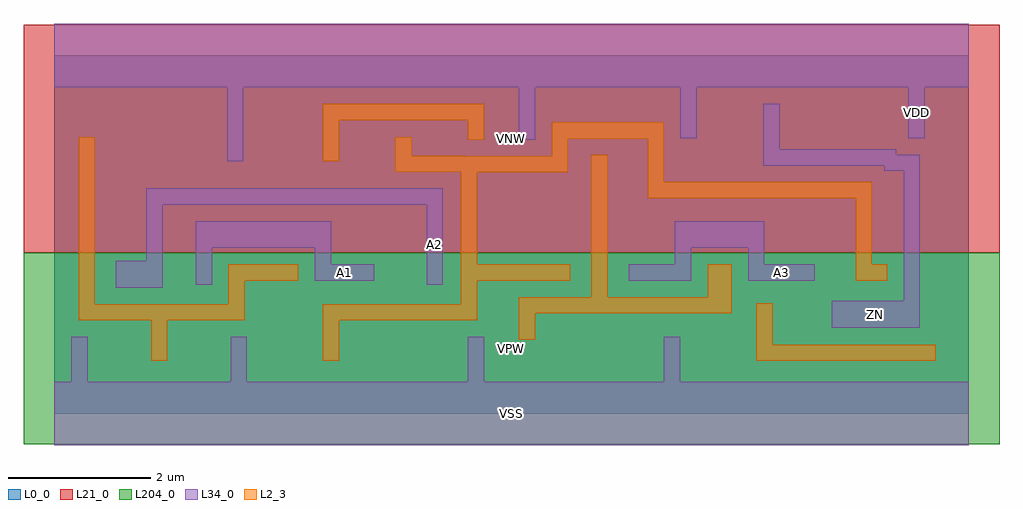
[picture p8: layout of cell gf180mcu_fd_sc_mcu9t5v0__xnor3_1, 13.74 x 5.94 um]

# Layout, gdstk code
import gdstk
lib = gdstk.Library(unit=1e-6, precision=1e-09)
def R(c, l, rs):  # rectangles x0, y0, x1, y1
    for r in rs: c.add(gdstk.rectangle(r[:2], r[2:], *l))
L0_0 = (0, 0)
L2_3 = (2, 3)
L21_0 = (21, 0)
L34_0 = (34, 0)
L204_0 = (204, 0)

gf180mcu_fd_sc_mcu9t5v0_ = lib.new_cell('gf180mcu_fd_sc_mcu9t5v0__xnor3_1')
R(gf180mcu_fd_sc_mcu9t5v0_, L0_0, [(0,0,12.88,5.04)])
R(gf180mcu_fd_sc_mcu9t5v0_, L2_3, [(1.365,0.74,1.595,1.31), (3.785,0.74,4.015,1.31), (9.885,0.74,12.41,0.97), (9.885,0.97,10.115,1.55), (6.545,1.04,6.775,1.41), (0.345,1.31,2.685,1.54), (3.785,1.31,5.955,1.54), (6.545,1.41,9.54,1.64), (0.345,1.54,0.575,3.89), (2.455,1.54,2.685,1.87), (5.725,1.54,5.955,1.87), (7.565,1.64,7.795,3.64), (9.2,1.64,9.54,2.1), (2.455,1.87,3.44,2.1), (5.725,1.87,7.27,2.1), (11.285,1.87,11.73,2.1), (5.725,2.1,5.955,3.395), (11.285,2.1,11.515,3.03), (8.355,3.03,11.515,3.26), (8.355,3.26,8.585,3.87), (5.725,3.395,7.235,3.4), (4.805,3.4,7.235,3.625), (3.785,3.55,4.015,4.13), (4.805,3.625,5.775,3.63), (7.005,3.625,7.235,3.87), (4.805,3.63,5.035,3.89), (5.825,3.855,6.055,4.13), (7.005,3.87,8.585,4.1), (3.785,4.13,6.055,4.36)])
R(gf180mcu_fd_sc_mcu9t5v0_, L21_0, [(-0.43,2.265,13.31,5.47)])
R(gf180mcu_fd_sc_mcu9t5v0_, L34_0, [(0,-0.45,12.88,0.45), (0.245,0.45,0.475,1.08), (2.485,0.45,2.715,1.08), (5.825,0.45,6.055,1.08), (8.585,0.45,8.815,1.08), (10.95,1.21,12.19,1.59), (11.96,1.59,12.19,3.415), (0.87,1.77,1.53,2.15), (1.995,1.815,2.225,2.33), (5.245,1.815,5.475,2.94), (3.67,1.87,4.51,2.1), (8.09,1.87,8.97,2.1), (9.77,1.87,10.71,2.1), (3.67,2.1,3.9,2.33), (8.74,2.1,8.97,2.33), (9.77,2.1,10,2.33), (1.3,2.15,1.53,2.94), (1.995,2.33,3.9,2.71), (8.74,2.33,10,2.71), (1.3,2.94,5.475,3.17), (11.685,3.415,12.19,3.49), (9.985,3.49,12.19,3.645), (2.435,3.55,2.665,4.59), (9.985,3.645,11.855,3.72), (9.985,3.72,10.215,4.36), (6.545,3.855,6.775,4.59), (8.815,3.875,9.045,4.59), (12.025,3.875,12.255,4.59), (0,4.59,12.88,5.49)])
R(gf180mcu_fd_sc_mcu9t5v0_, L204_0, [(-0.43,-0.43,13.31,2.265)])
gf180mcu_fd_sc_mcu9t5v0_.add(gdstk.Label('A1', (4.09,1.985), layer=34, texttype=10))
gf180mcu_fd_sc_mcu9t5v0_.add(gdstk.Label('A2', (5.36,2.377), layer=34, texttype=10))
gf180mcu_fd_sc_mcu9t5v0_.add(gdstk.Label('A3', (10.24,1.985), layer=34, texttype=10))
gf180mcu_fd_sc_mcu9t5v0_.add(gdstk.Label('ZN', (11.57,1.4), layer=34, texttype=10))
gf180mcu_fd_sc_mcu9t5v0_.add(gdstk.Label('VDD', (12.14,4.232), layer=34, texttype=10))
gf180mcu_fd_sc_mcu9t5v0_.add(gdstk.Label('VSS', (6.44,0), layer=34, texttype=10))
gf180mcu_fd_sc_mcu9t5v0_.add(gdstk.Label('VNW', (6.44,3.867), layer=3, texttype=1))
gf180mcu_fd_sc_mcu9t5v0_.add(gdstk.Label('VPW', (6.44,0.917), layer=4, texttype=1))

lib.write_gds('gf180mcu_fd_sc_mcu9t5v0__xnor3_1.gds')
